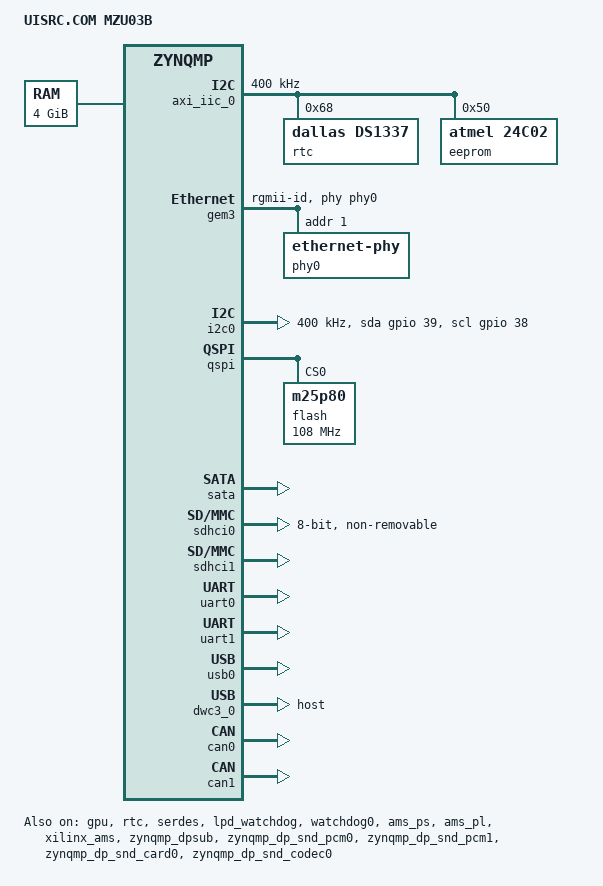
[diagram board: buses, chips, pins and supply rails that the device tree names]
/dts-v1/;

#include "zynqmp.dtsi"
#include "zynqmp-clk-ccf.dtsi"
#include <dt-bindings/input/input.h>
#include <dt-bindings/interrupt-controller/irq.h>
#include <dt-bindings/gpio/gpio.h>
#include <dt-bindings/pinctrl/pinctrl-zynqmp.h>
#include <dt-bindings/phy/phy.h>

/ {
	model = "UISRC.COM MZU03B";
	compatible = "uisrc,mzu03b",
				"xlnx,zynqmp-zcu100-revC", "xlnx,zynqmp-zcu100",
				"xlnx,zynqmp";

	aliases {
		ethernet0 = &gem3;
		rtc0 = &rtc;
		i2c0 = &i2c0;
		serial0 = &uart0;
		serial1 = &uart1;
		spi0 = &qspi;
		usb0 = &usb0;
		mmc0 = &sdhci0;
		mmc1 = &sdhci1;
	};

	chosen {
		bootargs = "earlycon clk_ignore_unused";
		stdout-path = "serial0:115200n8";
	};

	memory@0 {
		device_type = "memory";
		reg = <0x0 0x0 0x0 0x7ff00000>, <0x00000008 0x00000000 0x0 0x80000000>;
	};


	ltc2954: ltc2954 { /* U7 */
		compatible = "lltc,ltc2954", "lltc,ltc2952";
		status = "enable";
		trigger-gpios = <&gpio 26 GPIO_ACTIVE_LOW>; /* INT line - input */
		/* If there is HW watchdog on mezzanine this signal should be connected there */
		/*watchdog-gpios = <&gpio 35 GPIO_ACTIVE_HIGH>;  MIO on PAD */
		kill-gpios = <&gpio 37 GPIO_ACTIVE_LOW>; /* KILL signal - output */
	};
};

/ {
	amba_pl: amba_pl@0 {
		#address-cells = <2>;
		#size-cells = <2>;
		compatible = "simple-bus";
		ranges ;
		axi_iic_0: i2c@80000000 {
			#address-cells = <1>;
			#size-cells = <0>;
			clock-names = "s_axi_aclk";
			clocks = <&zynqmp_clk 71>;
			compatible = "xlnx,axi-iic-2.0", "xlnx,xps-iic-2.00.a";
			interrupt-names = "iic2intc_irpt";
			interrupt-parent = <&gic>;
			interrupts = <0 89 4>;
			reg = <0x0 0x80000000 0x0 0x10000>;
		};
	};
};

&gem3 {
	status = "okay";
	phy-mode = "rgmii-id";
	phy-handle = <&phy0>;
	phy0: ethernet-phy@1 {
		reg = <1>;
	};
};

&fpd_dma_chan1 {
	status = "okay";
};

&fpd_dma_chan2 {
	status = "okay";
};

&fpd_dma_chan3 {
	status = "okay";
};

&fpd_dma_chan4 {
	status = "okay";
};

&fpd_dma_chan5 {
	status = "okay";
};

&fpd_dma_chan6 {
	status = "okay";
};

&fpd_dma_chan7 {
	status = "okay";
};

&fpd_dma_chan8 {
	status = "okay";
};

&gpio {
	emio-gpio-width = <32>;
	gpio-mask-high = <0x0>;
	gpio-mask-low = <0x5600>;
	status = "okay";
};

&gpu {
	status = "okay";
};

&i2c0 {
	status = "okay";
	clock-frequency = <400000>;
	scl-gpios = <&gpio 38 GPIO_ACTIVE_HIGH>;
	sda-gpios = <&gpio 39 GPIO_ACTIVE_HIGH>;
/*
	rtc@68 {
		compatible = "dallas,ds1337";
		reg = <0x68>;
	};

	eeprom@50 {
		compatible = "atmel,24c02";
		//compatible = "at24,24c02";
		reg = <0x50>;
	};
*/
};

&axi_iic_0 {
	status = "okay";
	clock-frequency = <400000>;

	rtc@68 {
		compatible = "dallas,ds1337";
		reg = <0x68>;
	};

	eeprom@50 {
		compatible = "atmel,24c02";
		//compatible = "at24,24c02";
		reg = <0x50>;
	};
};

&qspi {
	status = "okay";
	is-dual = <0>;
	num-cs = <1>;
	flash@0 {
		compatible = "m25p80", "jedec,spi-nor"; /* 32MB */
		#address-cells = <1>;
		#size-cells = <1>;
		reg = <0x0>;
		spi-rx-bus-width = <4>;
		spi-tx-bus-width = <4>;
		spi-max-frequency = <108000000>;
	};
};

&rtc {
	status = "okay";
};

&sata {
	ceva,p0-burst-params = /bits/ 8 <0x13 0x08 0x4A 0x06>;
	ceva,p0-cominit-params = /bits/ 8 <0x18 0x40 0x18 0x28>;
	ceva,p0-comwake-params = /bits/ 8 <0x06 0x14 0x08 0x0E>;
	ceva,p0-retry-params = /bits/ 16 <0x96A4 0x3FFC>;
	ceva,p1-burst-params = /bits/ 8 <0x13 0x08 0x4A 0x06>;
	ceva,p1-cominit-params = /bits/ 8 <0x18 0x40 0x18 0x28>;
	ceva,p1-comwake-params = /bits/ 8 <0x06 0x14 0x08 0x0E>;
	ceva,p1-retry-params = /bits/ 16 <0x96A4 0x3FFC>;
	status = "okay";
};

&sdhci0 {
	clock-frequency = <187000000>;
	status = "okay";
	xlnx,mio_bank = <0x0>;
	bus-width = <8>;
	non-removable;
	disable-wp;	
};

&sdhci1 {
	clock-frequency = <100000000>;
	status = "okay";
	xlnx,mio_bank = <0x1>;
	no-1-8-v;
	disable-wp;
};

&serdes {
	status = "okay";
};

&uart0 {
	status = "okay";
	u-boot,dm-pre-reloc ;
};

&uart1 {
	status = "okay";
};

/* ULPI SMSC USB3320 */
&usb0 {
	status = "okay";
	xlnx,usb-polarity = <0x0>;
	xlnx,usb-reset-mode = <0x0>;
};

&dwc3_0 {
	status = "okay";
	dr_mode = "host";
};

&lpd_watchdog {
	status = "okay";
};

&watchdog0 {
	status = "okay";
};

&pss_ref_clk {
	clock-frequency = <33333333>;
};

&ams_ps {
	status = "okay";
};

&ams_pl {
	status = "okay";
};

&gic {
	num_cpus = <2>;
	num_interrupts = <96>;
};

&lpd_dma_chan1 {
	status = "okay";
};

&lpd_dma_chan2 {
	status = "okay";
};

&lpd_dma_chan3 {
	status = "okay";
};

&lpd_dma_chan4 {
	status = "okay";
};

&lpd_dma_chan5 {
	status = "okay";
};

&lpd_dma_chan6 {
	status = "okay";
};

&lpd_dma_chan7 {
	status = "okay";
};

&lpd_dma_chan8 {
	status = "okay";
};

&xilinx_ams {
	status = "okay";
};

&can0 {
	status = "okay";
};

&can1 {
	status = "okay";
};

&zynqmp_dpsub {
	phy-names = "dp-phy0","dp-phy1";
	phys = <&lane1 6 0 1 27000000>, <&lane0 6 1 1 27000000>;
	status = "okay";
	xlnx,max-lanes = <2>;
};

&zynqmp_dp_snd_pcm0 {
	status = "okay";
};

&zynqmp_dp_snd_pcm1 {
	status = "okay";
};

&zynqmp_dp_snd_card0 {
	status = "okay";
};

&zynqmp_dp_snd_codec0 {
	status = "okay";
};

&xlnx_dpdma {
	status = "okay";
};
